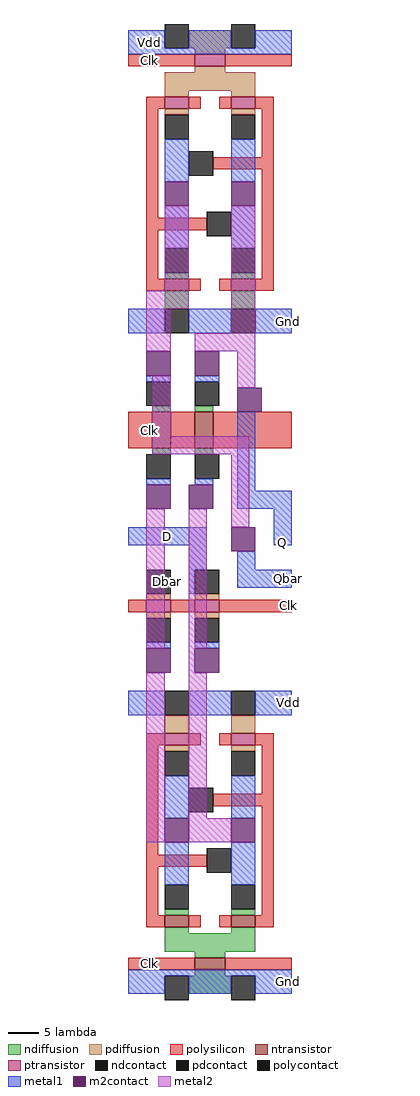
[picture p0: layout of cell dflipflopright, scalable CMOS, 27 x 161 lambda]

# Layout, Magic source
magic
tech scmos
<< ntransistor >>
rect -5 -18 -1 -16
rect 6 -18 10 -16
rect -7 -44 -4 -38
rect 0 -44 3 -38
rect -5 -123 -1 -121
rect 6 -123 10 -121
rect 0 -130 5 -128
<< ptransistor >>
rect 0 19 5 21
rect -5 12 -1 14
rect 6 12 10 14
rect -8 -71 -4 -69
rect 0 -71 4 -69
rect -5 -93 -1 -91
rect 6 -93 10 -91
<< ndiffusion >>
rect -5 -16 -1 -15
rect 6 -16 10 -15
rect -5 -21 -1 -18
rect 6 -21 10 -18
rect -7 -38 -4 -37
rect 0 -38 3 -37
rect -7 -45 -4 -44
rect 0 -45 3 -44
rect -5 -121 -1 -120
rect 6 -121 10 -120
rect -5 -124 -1 -123
rect 6 -124 10 -123
rect -5 -127 10 -124
rect 0 -128 5 -127
rect 0 -131 5 -130
rect -1 -134 6 -131
<< pdiffusion >>
rect -1 22 6 25
rect 0 21 5 22
rect 0 18 5 19
rect -5 15 10 18
rect -5 14 -1 15
rect 6 14 10 15
rect -5 11 -1 12
rect 6 11 10 12
rect -8 -69 -4 -68
rect 0 -69 4 -68
rect -8 -72 -4 -71
rect 0 -72 4 -71
rect -5 -91 -1 -88
rect 6 -91 10 -88
rect -5 -94 -1 -93
rect 6 -94 10 -93
<< ndcontact >>
rect -5 -15 -1 -11
rect 6 -15 10 -11
rect -5 -25 -1 -21
rect 6 -25 10 -21
rect -8 -37 -4 -33
rect 0 -37 4 -33
rect -8 -49 -4 -45
rect 0 -49 4 -45
rect -5 -120 -1 -116
rect 6 -120 10 -116
rect -5 -135 -1 -131
rect 6 -135 10 -131
<< pdcontact >>
rect -5 22 -1 26
rect 6 22 10 26
rect -5 7 -1 11
rect 6 7 10 11
rect -8 -68 -4 -64
rect 0 -68 4 -64
rect -8 -76 -4 -72
rect 0 -76 4 -72
rect -5 -88 -1 -84
rect 6 -88 10 -84
rect -5 -98 -1 -94
rect 6 -98 10 -94
<< polysilicon >>
rect -11 19 0 21
rect 5 19 16 21
rect -8 12 -5 14
rect -1 12 1 14
rect 4 12 6 14
rect 10 12 13 14
rect -8 -6 -6 12
rect 11 4 13 12
rect 3 2 13 4
rect -8 -8 2 -6
rect -8 -16 -6 -8
rect 11 -16 13 2
rect -8 -18 -5 -16
rect -1 -18 1 -16
rect 4 -18 6 -16
rect 10 -18 13 -16
rect -11 -44 -7 -38
rect -4 -44 0 -38
rect 3 -44 16 -38
rect -11 -71 -8 -69
rect -4 -71 0 -69
rect 4 -71 16 -69
rect -8 -93 -5 -91
rect -1 -93 1 -91
rect 4 -93 6 -91
rect 10 -93 13 -91
rect -8 -111 -6 -93
rect 11 -101 13 -93
rect 3 -103 13 -101
rect -8 -113 2 -111
rect -8 -121 -6 -113
rect 11 -121 13 -103
rect -8 -123 -5 -121
rect -1 -123 1 -121
rect 4 -123 6 -121
rect 10 -123 13 -121
rect -11 -130 0 -128
rect 5 -130 16 -128
<< polycontact >>
rect -1 1 3 5
rect 2 -9 6 -5
rect -1 -104 3 -100
rect 2 -114 6 -110
<< metal1 >>
rect -11 22 -5 25
rect -1 22 6 25
rect 10 22 16 25
rect -11 21 16 22
rect -5 0 -1 7
rect -5 -11 -1 -4
rect 6 0 10 7
rect 6 -11 10 -4
rect -11 -25 -5 -21
rect -1 -25 6 -21
rect 10 -25 16 -21
rect -8 -33 -4 -32
rect 0 -33 4 -32
rect -8 -50 -4 -49
rect 0 -50 3 -49
rect 7 -51 10 -38
rect 7 -54 16 -51
rect -11 -60 2 -57
rect -1 -64 2 -60
rect 13 -60 16 -54
rect 7 -64 10 -61
rect -1 -68 0 -64
rect 7 -67 16 -64
rect -8 -77 -4 -76
rect 0 -77 4 -76
rect -11 -88 -5 -84
rect -1 -88 6 -84
rect 10 -88 16 -84
rect -5 -105 -1 -98
rect -5 -116 -1 -109
rect 6 -105 10 -98
rect 6 -116 10 -109
rect -11 -131 16 -130
rect -11 -134 -5 -131
rect -1 -134 6 -131
rect 10 -134 16 -131
<< m2contact >>
rect -5 -4 -1 0
rect 6 -4 10 0
rect -8 -32 -4 -28
rect 0 -32 4 -28
rect 7 -38 11 -34
rect -8 -54 -4 -50
rect -1 -54 3 -50
rect 6 -61 10 -57
rect -8 -81 -4 -77
rect 0 -81 4 -77
rect -5 -109 -1 -105
rect 6 -109 10 -105
<< metal2 >>
rect -5 -18 -1 -4
rect -8 -21 -1 -18
rect -8 -28 -4 -21
rect 6 -25 10 -4
rect 0 -28 10 -25
rect -7 -42 -4 -32
rect 7 -34 10 -28
rect -7 -45 9 -42
rect -8 -77 -5 -54
rect -1 -77 2 -54
rect 6 -57 9 -45
rect -1 -81 0 -77
rect -8 -109 -5 -81
rect -1 -105 2 -81
rect -1 -109 6 -105
<< labels >>
rlabel pdcontact -5 -68 -4 -64 1 Dbar
rlabel metal1 -5 -60 -4 -57 1 D
rlabel polysilicon -8 -44 -7 -38 3 Clk
rlabel polysilicon -8 19 -7 21 3 Clk
rlabel metal1 -8 21 -7 25 4 Vdd
rlabel metal1 15 -88 16 -84 7 Vdd
rlabel polysilicon 15 -71 16 -69 7 Clk
rlabel metal1 13 -60 16 -59 7 Q
rlabel metal1 15 -67 16 -64 7 Qbar
rlabel metal1 15 -25 16 -21 7 Gnd
rlabel metal1 15 -134 16 -130 8 Gnd
rlabel polysilicon -8 -130 -7 -128 3 Clk
<< end >>
